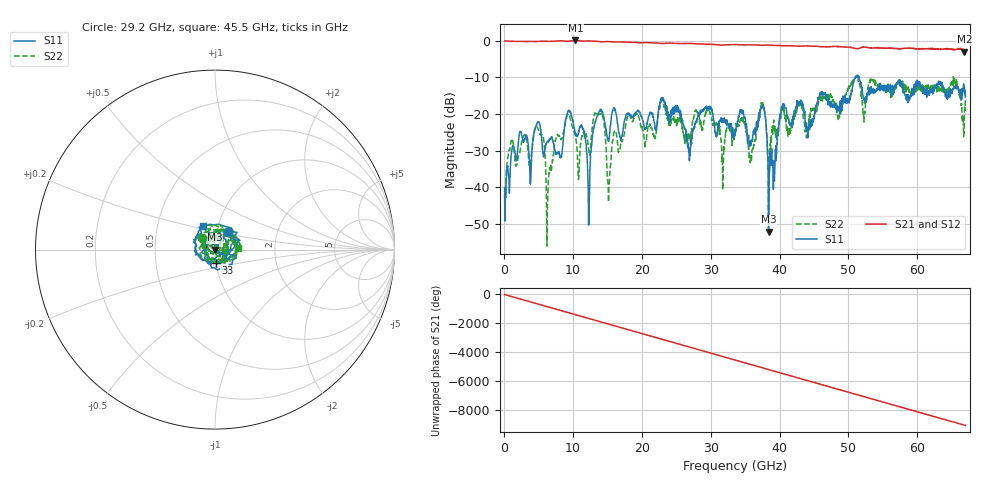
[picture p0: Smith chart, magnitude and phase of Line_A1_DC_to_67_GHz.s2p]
#  HZ  S  MA  R  50.00
! Rohde & Schwarz ZVA67 4Ports - Version 4.11 - 1305.7002k04 SN: 101051
! Date: 2023-05-31 14:01:54
! Measurements: S11 S21 S12 S22
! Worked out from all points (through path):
!   1340 points, 50 MHz to 67 GHz, reference 50 ohm
!   highest |S21| = 0.12 dB at 10.35 GHz (marker M1); lowest = -2.9 dB at 66.85 GHz (marker M2)
!   group delay of S21, straight-line fit = 375 ps
!   lowest |S11| = -52.2 dB at 38.4 GHz (marker M3), VSWR 1.00, Z = 49.8 - j0.119 ohm
!   |S11| at or under -10 dB: start of sweep to 50.98 GHz; 51.02502 GHz to 51.07175 GHz (46.74 MHz wide, 0.0916 % of centre); 51.55 GHz to end of sweep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
!   |S22| runs from -56.2 to -9.7 dB; largest |S21 - S12| = 0.28
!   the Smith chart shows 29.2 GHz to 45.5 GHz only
!   S11 on the Smith chart (normalised r, x): 29.2 GHz: 1.13, +0.23; 33 GHz: 1.00, -0.15; 45.5 GHz: 0.85, +0.23
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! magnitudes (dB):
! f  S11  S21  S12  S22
! 50 MHz  -42.1  0.0  0.0  -39.9
! 2.35 GHz  -24.7  -0.1  -0.1  -29.6
! 4.85 GHz  -22.2  -0.1  -0.2  -23.9
! 6.35 GHz  -27.4  -0.1  -0.1  -40.3
! 10.35 GHz  -25.9  0.1  0.1  -26.4
! 11.25 GHz  -23.4  0.0  0.0  -26.1
! 12.3 GHz  -50.1  0.0  0.0  -30.1
! 13.85 GHz  -19.1  -0.2  -0.2  -20.0
! 15.2 GHz  -27.1  -0.2  -0.2  -39.3
! 22.4 GHz  -19.1  -0.6  -0.6  -19.8
! 26.9 GHz  -32.8  -0.7  -0.7  -25.7
! 29.2 GHz  -18.1  -0.9  -0.9  -20.4
! 33 GHz  -22.7  -1.0  -1.0  -25.3
! 33.55 GHz  -25.9  -1.0  -1.0  -24.5
! 37.55 GHz  -17.5  -1.2  -1.3  -16.9
! 38.4 GHz  -52.2  -1.1  -1.2  -50.0
! 40.5 GHz  -17.2  -1.3  -1.4  -18.4
! 44.7 GHz  -21.7  -1.4  -1.4  -18.5
! 45.5 GHz  -16.6  -1.5  -1.5  -17.9
! 55.85 GHz  -13.2  -1.9  -2.0  -14.1
! 66.85 GHz  -12.7  -2.9  -2.9  -20.5
! 67 GHz  -15.1  -2.7  -2.7  -14.5
